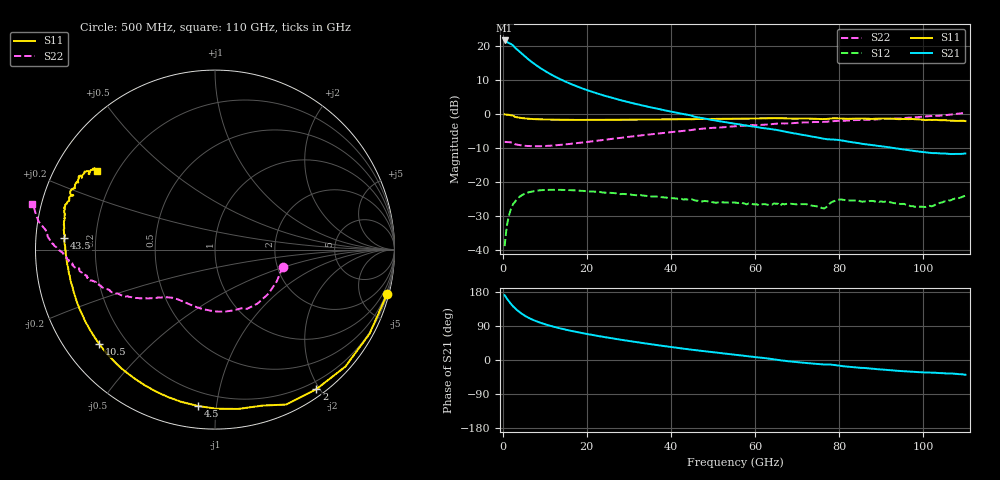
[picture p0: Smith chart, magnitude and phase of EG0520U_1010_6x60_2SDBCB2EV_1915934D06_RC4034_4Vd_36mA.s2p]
!File name = EG0520U_1010_6x60_2SDBCB2EV_1915934D06_RC4034_4Vd_36mA.s2p
!Base file name = EG0520U_1010_6x60_2SDBCB2EV_1915934D06_RC4034
!Date = 8/23/2019
!Time = 12:59 PM
!Test duration(min) = 0.15
!Test = S-Parameters
!MPTS version = 8.91.5
!State File = C:\Data\PNA\20190821205423\S-Parameters_2019-08-23.sta
!Cal File =
!ComputerName = CMPE-LAB-6
!Comments =
!Attenuation = 0
!Z0 = 50
!Input Power(dBm) = -13.00
!Device ID = EG0520U_1010_6x60_2SDBCB2EV
!Row = 40
!Column = 34
!Technology = QPHT09
!Lot/Wafer = 1915934D06
!Gate Size = 360
!Mask = EG0520
!Cal Standards = GaAs BCB
!Cal Kit = EG2306
!Job Number = 20190821205423
!Device Type = FET
!set_Vg(v) = -1.500
!set_Vd(v) = 4.000
!set_Vd(mA) = 36.000
!file_name = EG0520U_1010_6x60_2SDBCB2EV_1915934D06_RC4034_4Vd_36mA.s2p
!Vd(V) = 4.000
!Vd(mA) = 36.144
!Vg(V) = -0.551
!Vg(mA) = -0.005
# GHz  S  DB  R  50
!%	Freq(GHz)  s11(dB)  s11(deg)  s21(dB)  s21(deg)  s12(dB)  s12(deg)  s22(dB)  s22(deg)
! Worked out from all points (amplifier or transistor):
!   220 points, 500 MHz to 110 GHz, reference 50 ohm
!   highest |S21| = 21.7 dB at 500 MHz (marker M1)
!   |S21| within 3 dB of that: start of sweep to 3.768 GHz
!   unconditionally stable (mu >= 1): 32.19 GHz to 101.4 GHz
!   at 18.5 GHz: K = 0.55, MSG = 15.2 dB, |S12| = -22.6 dB
!   at 55.5 GHz: K = 1.58, MAG = 7.2 dB, |S12| = -26.1 dB
!   at 110 GHz: K = -1.98, MSG = 6.2 dB, |S12| = -24.1 dB
!   S11 on the Smith chart (normalised r, x): 500 MHz: 0.31, -7.87; 2 GHz: 0.10, -1.96; 4.5 GHz: 0.12, -0.89; 10.5 GHz: 0.10, -0.35; 43.5 GHz: 0.09, +0.04; 110 GHz: 0.13, +0.30
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0.5  -0.09 -14.5  21.74 171.1  -38.97 80.7  -8.18 -14.1
1  -0.17 -28.6  21.33 162.7  -33.19 73.5  -8.25 -27.0
2  -0.35 -54.0  20.71 148.0  -28.00 59.6  -8.34 -51.7
2.5  -0.44 -65.3  20.27 141.6  -26.61 53.9  -8.51 -61.6
3  -0.83 -72.9  19.58 136.4  -25.79 49.5  -8.91 -65.7
3.5  -0.94 -81.7  19.04 131.3  -25.02 45.1  -9.02 -73.4
4.5  -1.15 -96.3  17.92 122.6  -24.01 37.7  -9.21 -86.5
5.5  -1.29 -108.0  16.85 115.5  -23.39 31.9  -9.37 -96.5
7  -1.44 -121.3  15.34 107.0  -22.85 25.3  -9.45 -107.6
8.5  -1.51 -130.9  14.01 100.4  -22.54 20.5  -9.47 -114.7
10.5  -1.60 -140.7  12.43 92.9  -22.36 15.4  -9.39 -122.0
14  -1.67 -152.4  10.14 82.6  -22.36 9.3  -9.04 -129.7
19  -1.71 -162.7  7.57 70.9  -22.63 3.8  -8.37 -135.9
26.5  -1.68 -172.2  4.63 56.4  -23.30 -0.3  -7.22 -141.7
37  -1.57 179.5  1.52 38.9  -24.38 -1.5  -5.70 -148.7
43.5  -1.49 175.5  -0.08 29.2  -25.13 -0.5  -4.89 -153.1
55.5  -1.35 168.6  -2.89 13.7  -26.14 2.3  -3.56 -161.5
73.5  -1.35 159.5  -6.60 -9.3  -27.01 1.9  -2.34 -171.0
80.5  -1.28 156.9  -7.75 -15.7  -25.20 4.5  -1.96 -173.9
92  -1.36 151.2  -9.82 -26.8  -25.98 -10.4  -1.37 -179.0
100.5  -1.76 149.0  -11.31 -32.8  -27.41 -7.6  -0.71 176.7
110  -2.06 146.1  -11.62 -38.9  -24.09 -9.2  0.42 165.9
